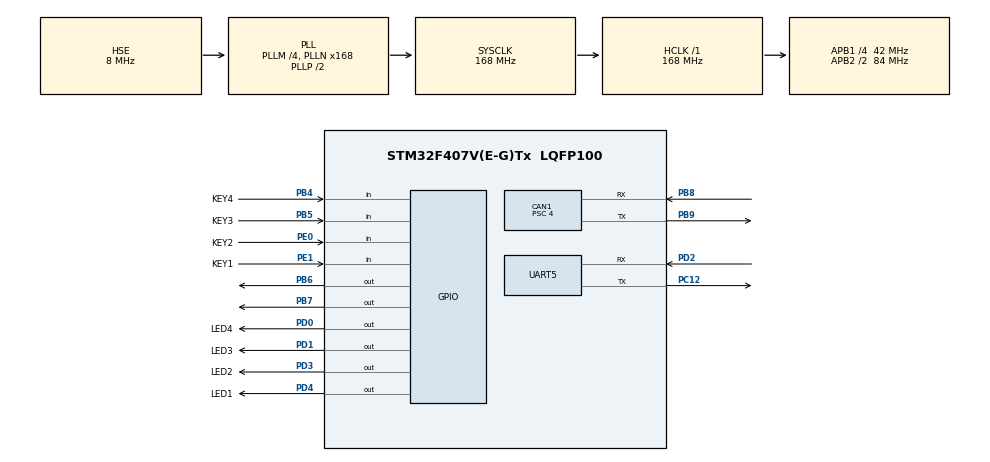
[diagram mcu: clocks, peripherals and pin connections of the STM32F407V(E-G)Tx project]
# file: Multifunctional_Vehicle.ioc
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CAN1.BS1=CAN_BS1_12TQ
CAN1.BS2=CAN_BS2_8TQ
CAN1.CalculateBaudRate=500000
CAN1.CalculateTimeBit=2000
CAN1.CalculateTimeQuantum=95.23809523809524
CAN1.Prescaler=4
Mcu.Family=STM32F4
Mcu.Name=STM32F407V(E-G)Tx
Mcu.Package=LQFP100
NVIC.CAN1_RX0_IRQn=true\:1\:0\:true\:false\:true\:true\:true\:true
NVIC.PriorityGroup=NVIC_PRIORITYGROUP_4
NVIC.TIM6_DAC_IRQn=true\:2\:0\:true\:false\:true\:true\:true\:true
NVIC.TIM7_IRQn=true\:1\:0\:true\:false\:true\:true\:true\:true
NVIC.TIM8_UP_TIM13_IRQn=true\:0\:0\:false\:false\:true\:true\:true\:true
PA13.Mode=Serial_Wire
PA13.Signal=SYS_JTMS-SWDIO
PA14.Mode=Serial_Wire
PA14.Signal=SYS_JTCK-SWCLK
PB4.GPIO_Label=KEY4
PB4.GPIO_PuPd=GPIO_PULLUP
PB4.Signal=GPIO_Input
PB5.GPIO_Label=KEY3
PB5.GPIO_PuPd=GPIO_PULLUP
PB5.Signal=GPIO_Input
PB6.GPIO_ModeDefaultOutputPP=GPIO_MODE_OUTPUT_OD
PB6.GPIO_PuPd=GPIO_NOPULL
PB6.GPIO_Speed=GPIO_SPEED_FREQ_VERY_HIGH
PB6.Signal=GPIO_Output
PB7.GPIO_ModeDefaultOutputPP=GPIO_MODE_OUTPUT_OD
PB7.GPIO_PuPd=GPIO_NOPULL
PB7.GPIO_Speed=GPIO_SPEED_FREQ_VERY_HIGH
PB7.Signal=GPIO_Output
PB8.Mode=CAN_Activate
PB8.Signal=CAN1_RX
PB9.Mode=CAN_Activate
PB9.Signal=CAN1_TX
PC12.Mode=Asynchronous
PC12.Signal=UART5_TX
PC14-OSC32_IN.Mode=LSE-External-Oscillator
PC14-OSC32_IN.Signal=RCC_OSC32_IN
PC15-OSC32_OUT.Mode=LSE-External-Oscillator
PC15-OSC32_OUT.Signal=RCC_OSC32_OUT
PD0.GPIO_Label=LED4
PD0.Signal=GPIO_Output
PD1.GPIO_Label=LED3
PD1.Signal=GPIO_Output
PD2.Mode=Asynchronous
PD2.Signal=UART5_RX
PD3.GPIO_Label=LED2
PD3.Signal=GPIO_Output
PD4.GPIO_Label=LED1
PD4.Signal=GPIO_Output
PE0.GPIO_Label=KEY2
PE0.GPIO_PuPd=GPIO_PULLUP
PE0.Signal=GPIO_Input
PE1.GPIO_Label=KEY1
PE1.GPIO_PuPd=GPIO_PULLUP
PE1.Signal=GPIO_Input
PH0-OSC_IN.Mode=HSE-External-Oscillator
PH0-OSC_IN.Signal=RCC_OSC_IN
PH1-OSC_OUT.Mode=HSE-External-Oscillator
PH1-OSC_OUT.Signal=RCC_OSC_OUT
ProjectManager.HeapSize=0x200
ProjectManager.StackSize=0x400
ProjectManager.TargetToolchain=MDK-ARM V5.32
RCC.48MHZClocksFreq_Value=84000000
RCC.AHBFreq_Value=168000000
RCC.APB1CLKDivider=RCC_HCLK_DIV4
RCC.APB1Freq_Value=42000000
RCC.APB1TimFreq_Value=84000000
RCC.APB2CLKDivider=RCC_HCLK_DIV2
RCC.APB2Freq_Value=84000000
RCC.APB2TimFreq_Value=168000000
RCC.CortexFreq_Value=168000000
RCC.HCLKFreq_Value=168000000
RCC.HSE_VALUE=8000000
RCC.HSI_VALUE=16000000
RCC.PLLM=4
RCC.PLLN=168
RCC.PLLSourceVirtual=RCC_PLLSOURCE_HSE
RCC.SYSCLKFreq_VALUE=168000000
RCC.SYSCLKSource=RCC_SYSCLKSOURCE_PLLCLK
RCC.VCOOutputFreq_Value=336000000
TIM6.AutoReloadPreload=TIM_AUTORELOAD_PRELOAD_ENABLE
TIM6.Period=199
TIM6.Prescaler=41999
TIM6.TIM_MasterOutputTrigger=TIM_TRGO_RESET
TIM7.AutoReloadPreload=TIM_AUTORELOAD_PRELOAD_ENABLE
TIM7.Period=99
TIM7.Prescaler=41999
TIM8.AutoReloadPreload=TIM_AUTORELOAD_PRELOAD_ENABLE
TIM8.Period=49999
TIM8.Prescaler=71
UART5.VirtualMode=Asynchronous
VP_TIM6_VS_ClockSourceINT.Mode=Enable_Timer
VP_TIM7_VS_ClockSourceINT.Mode=Enable_Timer
VP_TIM8_VS_ClockSourceINT.Mode=Internal
board=custom

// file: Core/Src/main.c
/* USER CODE BEGIN Header */
/**
  ******************************************************************************
  * @file           : main.c
  * @brief          : Main program body
  ******************************************************************************
  * @attention
  *
  * Copyright (c) 2026 STMicroelectronics.
  * All rights reserved.
  *
  * This software is licensed under terms that can be found in the LICENSE file
  * in the root directory of this software component.
  * If no LICENSE file comes with this software, it is provided AS-IS.
  *
  ******************************************************************************
  */
/* USER CODE END Header */
#include "main.h"
#include "can.h"
#include "tim.h"
#include "usart.h"
#include "gpio.h"

/* USER CODE BEGIN Includes */
#include "LED.h"
#include "KEY.h"
#include "OLED.h"
#include "MyCAN.h"
#include "smd.h"
#include "process_frame.h"
#include "Stepper_Arm.h"
#include "End_Effector.h"
#include "TTL_Servo.h"
#include "string.h"
#include "stdio.h"
#include <limits.h>
#include <math.h>
/* USER CODE END Includes */

/* USER CODE BEGIN PD */
int32_t position1 = 0;
float angle1 = 0;
int32_t position2 = 0;
float angle2 = 0;
int32_t position3 = 0;
float angle3 = 0;

float x = 0;
float y = 0;
float z = 0;

/* Mode selection */
uint8_t control_mode = 0;      // 0: Angle mode, 1: 3D mode
uint8_t selected_axis = 0;     // 0: no selection, 1: axis1/x, 2: axis2/y, 3: axis3/z

/* Target values */
float target_angle[4] = {0, 0, 0, 0};   // index 1..3
float target_pos[3] = {0, 0, 0};        // x, y, z

/* Error flags */
uint8_t target_dead_area = 0;
uint8_t current_dead_area = 0;
/* USER CODE END PD */

void SystemClock_Config(void);

int main(void)
{

  /* MCU Configuration--------------------------------------------------------*/

  /* Reset of all peripherals, Initializes the Flash interface and the Systick. */
  HAL_Init();

  /* Configure the system clock */
  SystemClock_Config();

  /* Initialize all configured peripherals */
  MX_GPIO_Init();
  MX_CAN1_Init();
  MX_TIM8_Init();
  MX_TIM6_Init();
  MX_TIM7_Init();
  MX_UART5_Init();
  /* USER CODE BEGIN 2 */
	OLED_Init();
	MyCAN_Init();
	TTL_Servo_Init();
  EndEffector_Init();
  OLED_Update();
	arm_enable();
	HAL_TIM_Base_Start_IT(&htim6);

	uint32_t start_wait = HAL_GetTick();
	while ((!motors[1].data_ready || !motors[2].data_ready || !motors[3].data_ready) &&
       (HAL_GetTick() - start_wait < 500))
	{
    HAL_Delay(10);
	}
	// Read initial angles and clear data_ready flags
	if (motors[1].data_ready) { angle1 = motors[1].angle; motors[1].data_ready = 0; }
	if (motors[2].data_ready) { angle2 = motors[2].angle; motors[2].data_ready = 0; }
	if (motors[3].data_ready) { angle3 = motors[3].angle; motors[3].data_ready = 0; }
	get_current_position(&x, &y, &z);

	// Initialize target values (rounded to nearest 10 degrees / 20 mm)
	target_angle[1] = roundf(angle1 / 10.0f) * 10.0f;
	target_angle[2] = roundf(angle2 / 10.0f) * 10.0f;
	target_angle[3] = roundf(angle3 / 10.0f) * 10.0f;
	target_pos[0] = roundf(x / 20.0f) * 20.0f;
	target_pos[1] = roundf(y / 20.0f) * 20.0f;
	target_pos[2] = roundf(z / 20.0f) * 20.0f;

	// Set default mode and axis selection
	control_mode = 0;       // Angle mode
	selected_axis = 0;      // No axis selected

  /* USER CODE END 2 */

  /* Infinite loop */
  /* USER CODE BEGIN WHILE */
  while (1)
  {
		if (motors[1].data_ready) {
			position1 = motors[1].position;
			angle1 = motors[1].angle;
			motors[1].data_ready = 0;
		}

		if (motors[2].data_ready) {
			position2 = motors[2].position;
			angle2 = motors[2].angle;
			motors[2].data_ready = 0;
		}

		if (motors[3].data_ready) {
			position3 = motors[3].position;
			angle3 = motors[3].angle;
			motors[3].data_ready = 0;
		}

		get_current_position(&x, &y, &z);

		if (!dead_area_angle(angle1, angle2, angle3)) {
			if (!current_dead_area) {
				current_dead_area = 1;
				arm_disable();
				OLED_ClearArea(0, 56, 128, 8);
				OLED_ShowString(0, 56, "Error: Current DA", OLED_6X8);
				OLED_Update();
        HAL_Delay(3000);
        OLED_ClearArea(0, 56, 128, 8);
        }
    } else {
				current_dead_area = 0;
    }

		OLED_ClearArea(0, 0, 128, 56);
		OLED_ShowString(0, 0, "P1:", OLED_6X8);
		OLED_ShowString(0, 8, "A1:", OLED_6X8);
		OLED_ShowSignedNum(18, 0, position1, 7, OLED_6X8);
		OLED_ShowFloatNum(18, 8, angle1, 3, 2, OLED_6X8);
		OLED_ShowString(0, 16, "P2:", OLED_6X8);
		OLED_ShowString(0, 24, "A2:", OLED_6X8);
		OLED_ShowSignedNum(18, 16, position2, 7, OLED_6X8);
		OLED_ShowFloatNum(18, 24, angle2, 3, 2, OLED_6X8);
		OLED_ShowString(0, 32, "P3:", OLED_6X8);
		OLED_ShowString(0, 40, "A3:", OLED_6X8);
		OLED_ShowSignedNum(18, 32, position3, 7, OLED_6X8);
		OLED_ShowFloatNum(18, 40, angle3, 3, 2, OLED_6X8);

		OLED_ShowString(72, 0, "X:", OLED_6X8);
		OLED_ShowFloatNum(84, 0, x, 3, 2, OLED_6X8);
		OLED_ShowString(72, 8, "Y:", OLED_6X8);
		OLED_ShowFloatNum(84, 8, y, 3, 2, OLED_6X8);
		OLED_ShowString(72, 16, "Z:", OLED_6X8);
		OLED_ShowFloatNum(84, 16, z, 3, 2, OLED_6X8);

    if (control_mode == 0) {
			OLED_ShowString(72, 32, "Mode:Ang", OLED_6X8);
    } else {
			OLED_ShowString(72, 32, "Mode:3D   ", OLED_6X8);
    }

    if (selected_axis == 0) {
			OLED_ShowString(72, 40, "Axis:None ", OLED_6X8);
		} else {
			if (control_mode == 0) {
				char buf[16];
				sprintf(buf, "Axis:%d     ", selected_axis);
        OLED_ShowString(72, 40, buf, OLED_6X8);
      } else {
				char buf[16];
        sprintf(buf, "Coord:%c     ", (selected_axis == 1 ? 'X' : (selected_axis == 2 ? 'Y' : 'Z')));
        OLED_ShowString(72, 40, buf, OLED_6X8);
			}
		}

    OLED_ShowString(0, 48, "Target:", OLED_6X8);
    if (control_mode == 0) {
			if (selected_axis == 0) {
				OLED_ShowFloatNum(42, 48, target_angle[1], 3, 0, OLED_6X8);
				OLED_ShowFloatNum(66, 48, target_angle[2], 3, 0, OLED_6X8);
        OLED_ShowFloatNum(90, 48, target_angle[3], 3, 0, OLED_6X8);
      } else {
                float val = target_angle[selected_axis];
                OLED_ShowFloatNum(42, 48, val, 3, 0, OLED_6X8);
            }
        } else {
            if (selected_axis == 0) {
                OLED_ShowFloatNum(42, 48, target_pos[0], 3, 0, OLED_6X8);
                OLED_ShowFloatNum(66, 48, target_pos[1], 3, 0, OLED_6X8);
                OLED_ShowFloatNum(90, 48, target_pos[2], 3, 0, OLED_6X8);
            } else {
                float val = target_pos[selected_axis - 1];
                OLED_ShowFloatNum(42, 48, val, 3, 0, OLED_6X8);
            }
        }

				if (!target_dead_area && !current_dead_area) {
            OLED_ClearArea(0, 56, 128, 8);
        }

		Key_Tick();
		if (Key_Check(KEY_1, KEY_DOWN))
		{
			LED1_ON();
			LED2_OFF();
			LED3_OFF();
			LED4_OFF();
			control_mode = !control_mode;
            selected_axis = 0;
            if (control_mode == 0) {
                target_angle[1] = roundf(angle1 / 10.0f) * 10.0f;
                target_angle[2] = roundf(angle2 / 10.0f) * 10.0f;
                target_angle[3] = roundf(angle3 / 10.0f) * 10.0f;
            } else {
                target_pos[0] = roundf(x / 20.0f) * 20.0f;
                target_pos[1] = roundf(y / 20.0f) * 20.0f;
                target_pos[2] = roundf(z / 20.0f) * 20.0f;
            }
		}

		if (Key_Check(KEY_2, KEY_DOWN))
		{
			LED2_ON();
			LED1_OFF();
			LED3_OFF();
			LED4_OFF();
			selected_axis++;
            if (selected_axis > 3) selected_axis = 0;
		}

		if (Key_Check(KEY_3, KEY_DOWN))
		{
			LED3_ON();
			LED1_OFF();
			LED2_OFF();
			LED4_OFF();
			if (control_mode == 0) {
                target_angle[selected_axis] += 10.0f;
                if (selected_axis == 2) {
                    if (target_angle[2] > 100.0f) target_angle[2] = 100.0f;
                    if (target_angle[2] < -100.0f) target_angle[2] = -100.0f;
                } else if (selected_axis == 3) {
                    if (target_angle[3] > 165.0f) target_angle[3] = 165.0f;
                    if (target_angle[3] < -165.0f) target_angle[3] = -165.0f;
                } else {
                    if (target_angle[1] > 180.0f) target_angle[1] = 180.0f;
                    if (target_angle[1] < -180.0f) target_angle[1] = -180.0f;
                }
                uint32_t start = HAL_GetTick();
                while (motors[1].request_pending && (HAL_GetTick() - start < 100)) HAL_Delay(1);
                motors[1].request_pending = 0; motors[1].data_ready = 0;
                while (motors[2].request_pending && (HAL_GetTick() - start < 100)) HAL_Delay(1);
                motors[2].request_pending = 0; motors[2].data_ready = 0;
                while (motors[3].request_pending && (HAL_GetTick() - start < 100)) HAL_Delay(1);
                motors[3].request_pending = 0; motors[3].data_ready = 0;

                if (arm_control_angle_pos(target_angle[1], target_angle[2], target_angle[3], 100, 1000))
								{
									EndEffector_SetAxis4Horizontal(target_angle[1], target_angle[2], target_angle[3], 500);
								}
								else {
									target_dead_area = 1;
									OLED_ClearArea(0, 56, 128, 8);
									OLED_ShowString(0, 56, "Error: Target DA", OLED_6X8);
									OLED_Update();
									HAL_Delay(1000);
									target_dead_area = 0;
									OLED_ClearArea(0, 56, 128, 8);
								}
            } else {
                int idx = selected_axis - 1;
                target_pos[idx] += 20.0f;
                if (target_pos[0] > 400.0f) target_pos[0] = 400.0f;
                if (target_pos[0] < -400.0f) target_pos[0] = -400.0f;
                if (target_pos[1] > 400.0f) target_pos[1] = 400.0f;
                if (target_pos[1] < -400.0f) target_pos[1] = -400.0f;
                if (target_pos[2] > 300.0f) target_pos[2] = 300.0f;
                if (target_pos[2] < -210.0f) target_pos[2] = -210.0f;

                uint32_t start = HAL_GetTick();
                while (motors[1].request_pending && (HAL_GetTick() - start < 100)) HAL_Delay(1);
                motors[1].request_pending = 0; motors[1].data_ready = 0;
                while (motors[2].request_pending && (HAL_GetTick() - start < 100)) HAL_Delay(1);
                motors[2].request_pending = 0; motors[2].data_ready = 0;
                while (motors[3].request_pending && (HAL_GetTick() - start < 100)) HAL_Delay(1);
                motors[3].request_pending = 0; motors[3].data_ready = 0;

                if (arm_control_3d_pos(target_pos[0], target_pos[1], target_pos[2], 100, 1000))
								{
									float a1, a2, a3;
									if (get_arm_target_angles(target_pos[0], target_pos[1], target_pos[2], &a1, &a2, &a3))
									{
										EndEffector_SetAxis4Horizontal(a1, a2, a3, 500);
									}
								}
								else {
									target_dead_area = 1;
									OLED_ClearArea(0, 56, 128, 8);
									OLED_ShowString(0, 56, "Error: Target DA", OLED_6X8);
									OLED_Update();
									HAL_Delay(1000);
									target_dead_area = 0;
									OLED_ClearArea(0, 56, 128, 8);
								}
            }
		}

		if (Key_Check(KEY_4, KEY_DOWN))
		{
			LED4_ON();
			LED1_OFF();
			LED2_OFF();
			LED3_OFF();
			if (control_mode == 0) {
                target_angle[selected_axis] -= 10.0f;

                if (selected_axis == 2) {
                    if (target_angle[2] > 100.0f) target_angle[2] = 100.0f;
                    if (target_angle[2] < -100.0f) target_angle[2] = -100.0f;
                } else if (selected_axis == 3) {
                    if (target_angle[3] > 165.0f) target_angle[3] = 165.0f;
                    if (target_angle[3] < -165.0f) target_angle[3] = -165.0f;
                } else {
                    if (target_angle[1] > 180.0f) target_angle[1] = 180.0f;
                    if (target_angle[1] < -180.0f) target_angle[1] = -180.0f;
                }

                uint32_t start = HAL_GetTick();
                while (motors[1].request_pending && (HAL_GetTick() - start < 100)) HAL_Delay(1);
                motors[1].request_pending = 0; motors[1].data_ready = 0;
                while (motors[2].request_pending && (HAL_GetTick() - start < 100)) HAL_Delay(1);
                motors[2].request_pending = 0; motors[2].data_ready = 0;
                while (motors[3].request_pending && (HAL_GetTick() - start < 100)) HAL_Delay(1);
                motors[3].request_pending = 0; motors[3].data_ready = 0;

                if (arm_control_angle_pos(target_angle[1], target_angle[2], target_angle[3], 100, 1000))
								{
									EndEffector_SetAxis4Horizontal(target_angle[1], target_angle[2], target_angle[3], 500);
								}
								else {
									target_dead_area = 1;
									OLED_ClearArea(0, 56, 128, 8);
									OLED_ShowString(0, 56, "Error: Target DA", OLED_6X8);
									OLED_Update();
									HAL_Delay(1000);
									target_dead_area = 0;
									OLED_ClearArea(0, 56, 128, 8);
								}
            } else {
                int idx = selected_axis - 1;
                target_pos[idx] -= 20.0f;
                if (target_pos[0] > 400.0f) target_pos[0] = 400.0f;
                if (target_pos[0] < -400.0f) target_pos[0] = -400.0f;
                if (target_pos[1] > 400.0f) target_pos[1] = 400.0f;
                if (target_pos[1] < -400.0f) target_pos[1] = -400.0f;
                if (target_pos[2] > 300.0f) target_pos[2] = 300.0f;
                if (target_pos[2] < -210.0f) target_pos[2] = -210.0f;

                uint32_t start = HAL_GetTick();
                while (motors[1].request_pending && (HAL_GetTick() - start < 100)) HAL_Delay(1);
                motors[1].request_pending = 0; motors[1].data_ready = 0;
                while (motors[2].request_pending && (HAL_GetTick() - start < 100)) HAL_Delay(1);
                motors[2].request_pending = 0; motors[2].data_ready = 0;
                while (motors[3].request_pending && (HAL_GetTick() - start < 100)) HAL_Delay(1);
                motors[3].request_pending = 0; motors[3].data_ready = 0;

                if (arm_control_3d_pos(target_pos[0], target_pos[1], target_pos[2], 100, 1000))
								{
									float a1, a2, a3;
									if (get_arm_target_angles(target_pos[0], target_pos[1], target_pos[2], &a1, &a2, &a3))
									{
										EndEffector_SetAxis4Horizontal(a1, a2, a3, 500);
									}
								}
								else {
									target_dead_area = 1;
									OLED_ClearArea(0, 56, 128, 8);
									OLED_ShowString(0, 56, "Error: Target DA", OLED_6X8);
									OLED_Update();
									HAL_Delay(1000);
									target_dead_area = 0;
									OLED_ClearArea(0, 56, 128, 8);
								}
            }
		}

		OLED_Update();
    /* USER CODE END WHILE */

  }
}

void SystemClock_Config(void)
{
  RCC_OscInitTypeDef RCC_OscInitStruct = {0};
  RCC_ClkInitTypeDef RCC_ClkInitStruct = {0};

  /** Configure the main internal regulator output voltage
  */
  __HAL_RCC_PWR_CLK_ENABLE();
  __HAL_PWR_VOLTAGESCALING_CONFIG(PWR_REGULATOR_VOLTAGE_SCALE1);

  /** Initializes the RCC Oscillators according to the specified parameters
  * in the RCC_OscInitTypeDef structure.
  */
  RCC_OscInitStruct.OscillatorType = RCC_OSCILLATORTYPE_HSE;
  RCC_OscInitStruct.HSEState = RCC_HSE_ON;
  RCC_OscInitStruct.PLL.PLLState = RCC_PLL_ON;
  RCC_OscInitStruct.PLL.PLLSource = RCC_PLLSOURCE_HSE;
  RCC_OscInitStruct.PLL.PLLM = 4;
  RCC_OscInitStruct.PLL.PLLN = 168;
  RCC_OscInitStruct.PLL.PLLP = RCC_PLLP_DIV2;
  RCC_OscInitStruct.PLL.PLLQ = 4;
  if (HAL_RCC_OscConfig(&RCC_OscInitStruct) != HAL_OK)
  {
    Error_Handler();
  }

  /** Initializes the CPU, AHB and APB buses clocks
  */
  RCC_ClkInitStruct.ClockType = RCC_CLOCKTYPE_HCLK|RCC_CLOCKTYPE_SYSCLK
                              |RCC_CLOCKTYPE_PCLK1|RCC_CLOCKTYPE_PCLK2;
  RCC_ClkInitStruct.SYSCLKSource = RCC_SYSCLKSOURCE_PLLCLK;
  RCC_ClkInitStruct.AHBCLKDivider = RCC_SYSCLK_DIV1;
  RCC_ClkInitStruct.APB1CLKDivider = RCC_HCLK_DIV4;
  RCC_ClkInitStruct.APB2CLKDivider = RCC_HCLK_DIV2;

  if (HAL_RCC_ClockConfig(&RCC_ClkInitStruct, FLASH_LATENCY_5) != HAL_OK)
  {
    Error_Handler();
  }
}

void Error_Handler(void)
{
  __disable_irq();
  while (1)
  {
  }
}
